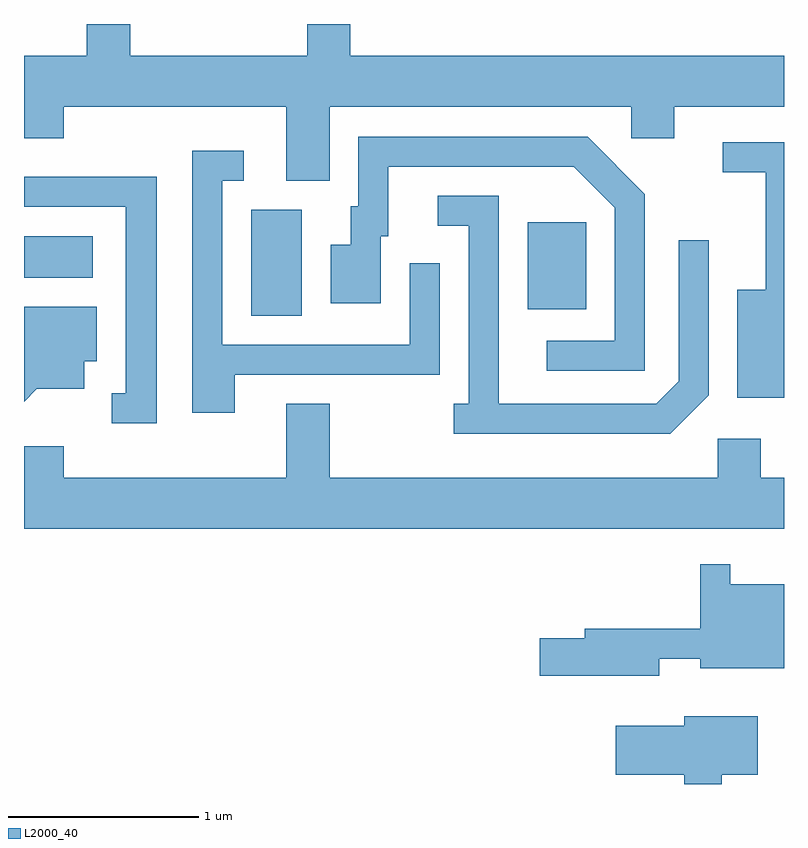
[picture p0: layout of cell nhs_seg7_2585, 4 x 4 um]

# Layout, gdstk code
import gdstk
lib = gdstk.Library(unit=1e-6, precision=1e-09)
def R(c, l, rs):  # rectangles x0, y0, x1, y1
    for r in rs: c.add(gdstk.rectangle(r[:2], r[2:], *l))
def P(c, l, *ps):  # polygons
    for p in ps: c.add(gdstk.Polygon(p, *l))
L2000_40 = (2000, 40)

nhs_seg7_2585 = lib.new_cell('nhs_seg7_2585')
R(nhs_seg7_2585, L2000_40, [(264.806,1768.716,265.074,1769.274), (266.261,1768.751,266.569,1769.209), (263.611,1768.916,263.974,1769.134)])
P(nhs_seg7_2585, L2000_40, [(265.219,1769.816),(266.806,1769.816),(266.806,1769.651),(267.034,1769.651),(267.034,1769.816),(267.611,1769.816),(267.611,1770.084),(265.329,1770.084),(265.329,1770.252),(265.101,1770.252),(265.101,1770.084),(264.169,1770.084),(264.169,1770.252),(263.941,1770.252),(263.941,1770.084),(263.611,1770.084),(263.611,1769.651),(263.819,1769.651),(263.819,1769.816),(264.991,1769.816),(264.991,1769.426),(265.219,1769.426)],
  [(266.879,1769.357),(266.577,1769.659),(265.371,1769.659),(265.371,1769.294),(265.331,1769.294),(265.331,1769.089),(265.226,1769.089),(265.226,1768.781),(265.489,1768.781),(265.489,1769.136),(265.529,1769.136),(265.529,1769.501),(266.504,1769.501),(266.721,1769.284),(266.721,1768.584),(266.363,1768.584),(266.363,1768.426),(266.879,1768.426)],
  [(267.611,1769.629),(267.288,1769.629),(267.288,1769.471),(267.516,1769.471),(267.516,1768.854),(267.366,1768.854),(267.366,1768.286),(267.611,1768.286)],
  [(264.719,1768.406),(265.799,1768.406),(265.799,1768.993),(265.641,1768.993),(265.641,1768.564),(264.654,1768.564),(264.654,1769.426),(264.768,1769.426),(264.768,1769.584),(264.496,1769.584),(264.496,1768.206),(264.719,1768.206)],
  [(264.309,1769.449),(263.611,1769.449),(263.611,1769.291),(264.146,1769.291),(264.146,1768.309),(264.073,1768.309),(264.073,1768.151),(264.309,1768.151)],
  [(267.214,1768.299),(267.214,1769.113),(267.056,1769.113),(267.056,1768.372),(266.939,1768.254),(266.109,1768.254),(266.109,1769.349),(265.788,1769.349),(265.788,1769.191),(265.951,1769.191),(265.951,1768.254),(265.873,1768.254),(265.873,1768.096),(267.012,1768.096)],
  [(263.677,1768.331),(263.929,1768.331),(263.929,1768.476),(263.994,1768.476),(263.994,1768.764),(263.611,1768.764),(263.611,1768.265)],
  [(267.611,1767.864),(267.489,1767.864),(267.489,1768.069),(267.261,1768.069),(267.261,1767.864),(265.219,1767.864),(265.219,1768.254),(264.991,1768.254),(264.991,1767.864),(263.819,1767.864),(263.819,1768.029),(263.611,1768.029),(263.611,1767.596),(267.611,1767.596)],
  [(266.954,1766.911),(267.171,1766.911),(267.171,1766.861),(267.611,1766.861),(267.611,1767.304),(267.329,1767.304),(267.329,1767.408),(267.171,1767.408),(267.171,1767.069),(266.561,1767.069),(266.561,1767.019),(266.326,1767.019),(266.326,1766.821),(266.954,1766.821)],
  [(267.284,1766.301),(267.474,1766.301),(267.474,1766.609),(267.086,1766.609),(267.086,1766.559),(266.726,1766.559),(266.726,1766.301),(267.086,1766.301),(267.086,1766.252),(267.284,1766.252)])

lib.write_gds('nhs_seg7_2585.gds')
